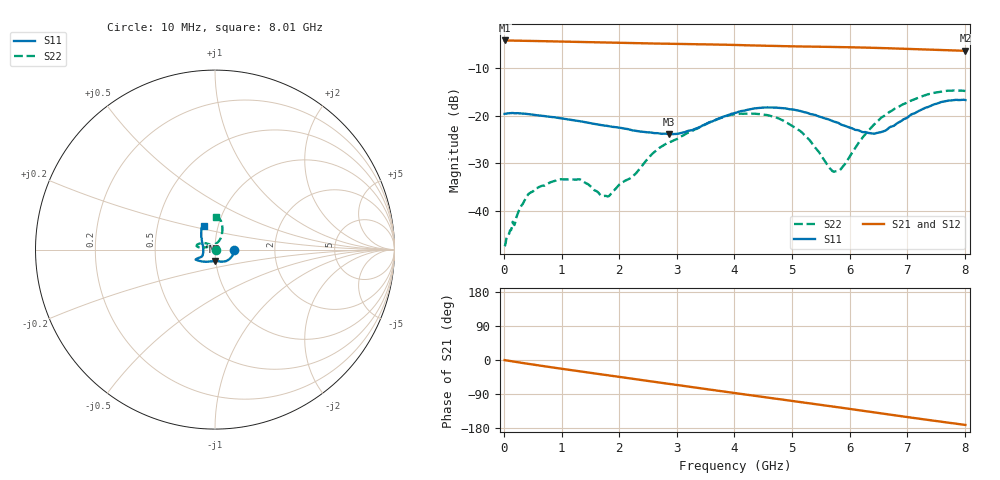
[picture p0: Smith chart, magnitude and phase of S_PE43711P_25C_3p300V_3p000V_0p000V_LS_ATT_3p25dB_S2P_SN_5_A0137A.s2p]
! Device ID: PE43711P
! File Path: z:\PE43711P\CHAR_NOM_04282014\AMB\3p300\LS_ATT_3p25dB\PE43711P_AMB_3p300V_3p000V_0p000V_LS_ATT_3p25dB_S2P_SN_5_A0137A.s2p
! Serial: 5
! Lot: A0137A
! Temp: 25C
! VDD: 3.300
! VSS: 0.000
! Control_Hi: 3.000
! Control_Lo: 0.000
! Attenuation Step: 3.25dB
! Port 1: RF1
! Port 2: RF2
! ThroughPath:1-2
! IDD: 0.0001281009
! ISS: -1.37e-007
#  Hz  S  RI  R  50
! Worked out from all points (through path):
!   801 points, 10 MHz to 8.01 GHz, reference 50 ohm
!   highest |S21| = -4.31 dB at 10 MHz (marker M1); lowest = -6.5 dB at 8.01 GHz (marker M2)
!   group delay of S21, straight-line fit = 58.9 ps
!   lowest |S11| = -23.9 dB at 2.87 GHz (marker M3), VSWR 1.14, Z = 49.7 - j6.37 ohm
!   |S11| at or under -10 dB: start of sweep to end of sweep
!   |S22| runs from -47.3 to -14.7 dB; largest |S21 - S12| = 0.00079
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1e7  0.1043 -0.000555  0.6086 -0.00322  0.6087 -0.00334  0.00432 1.72e-05
2.8e8  0.1034 -0.0216  0.6012 -0.0725  0.6013 -0.0724  0.00637 -0.00888
4.4e8  0.098 -0.0321  0.5923 -0.111  0.5924 -0.111  0.00692 -0.0138
9.5e8  0.0756 -0.0564  0.5495 -0.2226  0.5498 -0.2227  0.00121 -0.0215
1.35e9  0.0568 -0.0652  0.5037 -0.3004  0.504 -0.3006  -0.00473 -0.0204
1.69e9  0.0424 -0.067  0.4563 -0.3587  0.4567 -0.3589  -0.0103 -0.0102
1.81e9  0.0388 -0.0672  0.4383 -0.3778  0.4386 -0.3779  -0.0132 -0.00558
2.26e9  0.024 -0.0654  0.3639 -0.4395  0.3644 -0.4397  -0.0213 0.0109
2.68e9  0.0111 -0.0643  0.2897 -0.4843  0.2899 -0.4846  -0.0333 0.0307
2.87e9  0.00105 -0.0639  0.2542 -0.5017  0.2544 -0.5018  -0.0413 0.0324
3.28e9  -0.0266 -0.0659  0.1736 -0.5285  0.1738 -0.529  -0.0593 0.0367
4.01e9  -0.0859 -0.0628  0.0253 -0.5453  0.025 -0.5457  -0.0998 0.027
4.74e9  -0.1076 -0.0546  -0.1162 -0.5195  -0.1163 -0.5202  -0.0934 0.0141
5.14e9  -0.0996 -0.0508  -0.1869 -0.4924  -0.1872 -0.4929  -0.0681 0.0124
5.35e9  -0.0919 -0.0461  -0.2229 -0.4747  -0.223 -0.4753  -0.0494 0.0126
5.67e9  -0.079 -0.0417  -0.2754 -0.4423  -0.2756 -0.4425  -0.0192 0.0198
5.8e9  -0.0745 -0.039  -0.2956 -0.4271  -0.2959 -0.427  -0.00731 0.0254
6.39e9  -0.0651 -0.00303  -0.376 -0.3449  -0.3762 -0.3453  0.0343 0.0684
6.68e9  -0.0691 0.0271  -0.4062 -0.2988  -0.4061 -0.299  0.0403 0.1003
7.37e9  -0.0759 0.0974  -0.4531 -0.1804  -0.453 -0.1805  0.0313 0.1643
7.69e9  -0.0739 0.1217  -0.4639 -0.1255  -0.4639 -0.1253  0.0154 0.1808
8.01e9  -0.0616 0.1316  -0.4694 -0.0715  -0.4696 -0.0708  0.00377 0.1803
